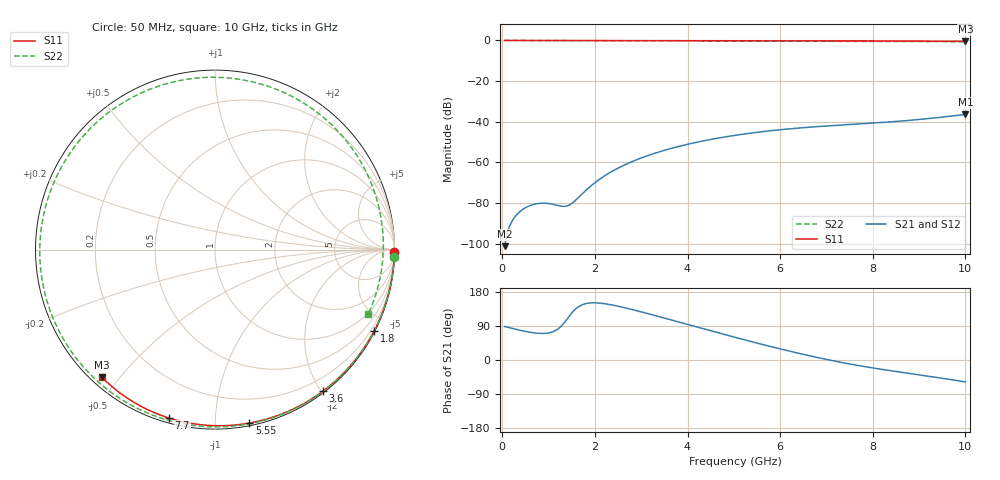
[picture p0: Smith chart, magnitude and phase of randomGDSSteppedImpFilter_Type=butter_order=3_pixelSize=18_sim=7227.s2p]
! freq	dB(S11)	phase(S11)	dB(S12)	phase(S12)
!  dB(S21)	phase(S21)	dB(S22)	phase(S22)
!S-par simulation data
#  GHz  S  DB  R 50
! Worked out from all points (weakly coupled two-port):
!   200 points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, 50 MHz to 10 GHz, reference 50 ohm
!   highest |S21| = -36.42 dB at 10 GHz (marker M1); lowest = -101.2 dB at 50 MHz (marker M2)
!   lowest |S11| = -0.4 dB at 10 GHz (marker M3), VSWR 38.97, Z = 1.54 - j22.4 ohm
!   |S11| at or under -10 dB: nowhere
!   |S22| runs from -0.7 to 0.0 dB; largest |S21 - S12| = 0
!   S11 on the Smith chart (normalised r, x): 50 MHz: open; 1.8 GHz: 0.04, -4.17; 3.6 GHz: 0.02, -2.02; 5.55 GHz: 0.02, -1.22; 7.7 GHz: 0.02, -0.76; 10 GHz: 0.03, -0.45
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0.05  -0.00 -0.8  -101.25 88.4  -101.25 88.4  -0.00 -2.4
0.35  -0.01 -5.3  -84.86 79.4  -84.86 79.4  -0.02 -16.8
0.7  -0.01 -10.6  -80.57 71.4  -80.57 71.4  -0.04 -33.4
1.1  -0.02 -16.6  -80.68 74.9  -80.68 74.9  -0.06 -51.9
1.5  -0.03 -22.6  -80.24 124.0  -80.24 124.0  -0.09 -69.6
1.75  -0.03 -26.3  -74.95 146.9  -74.95 146.9  -0.10 -80.4
1.8  -0.03 -27.0  -73.88 148.6  -73.88 148.6  -0.10 -82.5
2.1  -0.04 -31.4  -68.32 150.1  -68.32 150.1  -0.11 -94.9
2.45  -0.05 -36.5  -63.43 143.3  -63.43 143.3  -0.13 -108.9
2.9  -0.06 -42.9  -58.72 130.2  -58.72 130.2  -0.14 -126.1
3.4  -0.07 -50.0  -54.75 113.9  -54.75 113.9  -0.16 -144.5
3.6  -0.07 -52.8  -53.42 107.3  -53.42 107.3  -0.17 -151.7
4.3  -0.09 -62.4  -49.62 83.8  -49.62 83.8  -0.20 -176.3
5.05  -0.11 -72.3  -46.62 59.0  -46.62 59.0  -0.24 157.6
5.55  -0.13 -78.8  -45.08 43.1  -45.08 43.1  -0.27 140.0
6.15  -0.15 -86.4  -43.61 24.9  -43.61 24.9  -0.31 118.6
6.7  -0.18 -93.2  -42.57 9.4  -42.57 9.4  -0.34 98.4
7.2  -0.21 -99.3  -41.80 -3.5  -41.80 -3.5  -0.37 79.7
7.7  -0.24 -105.3  -41.10 -14.8  -41.10 -14.8  -0.40 60.8
8.35  -0.29 -112.9  -40.13 -27.6  -40.13 -27.6  -0.45 36.2
9.15  -0.36 -122.1  -38.55 -41.7  -38.55 -41.7  -0.54 6.8
10  -0.45 -131.7  -36.42 -57.9  -36.42 -57.9  -0.67 -22.7
